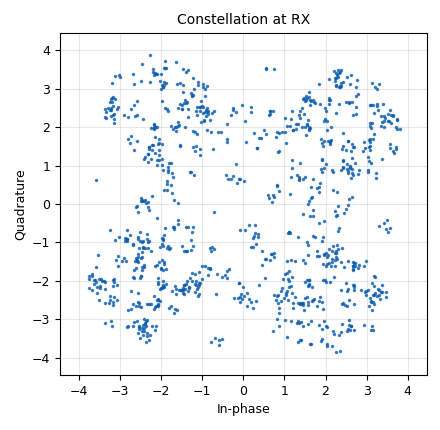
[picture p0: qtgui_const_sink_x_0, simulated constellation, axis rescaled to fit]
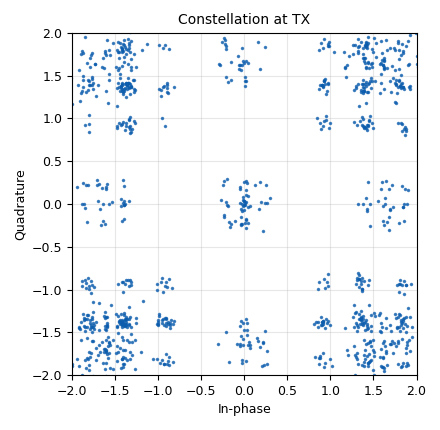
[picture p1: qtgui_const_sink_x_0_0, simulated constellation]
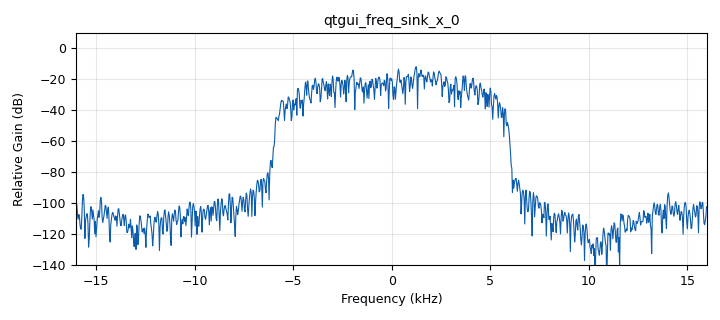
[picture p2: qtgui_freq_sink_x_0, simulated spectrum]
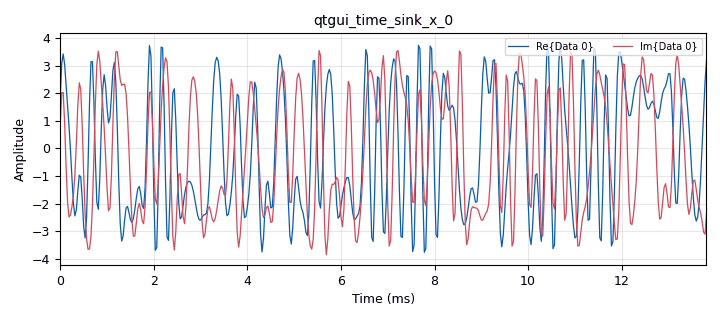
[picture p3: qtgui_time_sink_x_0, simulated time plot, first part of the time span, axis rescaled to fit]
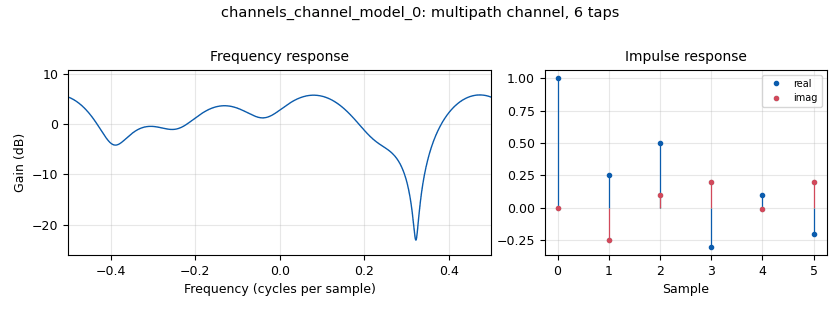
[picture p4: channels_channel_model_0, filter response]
options:
  parameters:
    generate_options: qt_gui
    id: wireless_channel
    output_language: python
    title: Not titled yet
  states: {}

blocks:
- name: freq_offset
  id: variable_qtgui_range
  parameters:
    label: Frequency Offset
    start: '0'
    step: '0.1'
    stop: '10'
    value: '0'
  states: {}
- name: noise
  id: variable_qtgui_range
  parameters:
    label: Channel Noise
    start: '0'
    step: '0.01'
    stop: '10'
    value: '0'
  states: {}
- name: samp_rate
  id: variable
  parameters:
    value: '32000'
  states: {}
- name: taps
  id: variable
  parameters:
    value: '[1.0, 0.25-0.25j, 0.5+0.1j, -0.3+0.2j, 0.1-0.01j, -0.2+0.2j]'
  states: {}
- name: time_offset
  id: variable_qtgui_range
  parameters:
    label: Time Offset
    start: '0'
    step: '0.01'
    stop: '1'
    value: '1'
  states: {}
- name: variable_constellation_0
  id: variable_constellation
  parameters:
    precision: '8'
    type: qpsk
  states: {}
- name: analog_random_source_x_0
  id: analog_random_source_x
  parameters:
    max: '256'
    min: '0'
    num_samps: '1000'
    repeat: 'True'
    type: byte
  states: {}
- name: blocks_throttle2_0
  id: blocks_throttle2
  parameters:
    samples_per_second: samp_rate
    type: complex
  states: {}
- name: channels_channel_model_0
  id: channels_channel_model
  parameters:
    epsilon: time_offset
    freq_offset: freq_offset
    noise_voltage: noise
    seed: '0'
    taps: taps
  states: {}
- name: digital_constellation_modulator_0
  id: digital_constellation_modulator
  parameters:
    constellation: variable_constellation_0
    differential: 'False'
    excess_bw: '0.5'
    samples_per_symbol: '4'
  states: {}
- name: qtgui_const_sink_x_0
  id: qtgui_const_sink_x
  parameters:
    name: '"Constellation at RX"'
    size: '1024'
    type: complex
  states: {}
- name: qtgui_const_sink_x_0_0
  id: qtgui_const_sink_x
  parameters:
    name: '"Constellation at TX"'
    size: '1024'
    type: complex
  states: {}
- name: qtgui_freq_sink_x_0
  id: qtgui_freq_sink_x
  parameters:
    bw: samp_rate
    fc: '0'
    fftsize: '1024'
    type: complex
  states: {}
- name: qtgui_time_sink_x_0
  id: qtgui_time_sink_x
  parameters:
    size: '1024'
    srate: samp_rate
    type: complex
  states: {}

connections:
- [analog_random_source_x_0, '0', digital_constellation_modulator_0, '0']
- [blocks_throttle2_0, '0', channels_channel_model_0, '0']
- [blocks_throttle2_0, '0', qtgui_const_sink_x_0_0, '0']
- [channels_channel_model_0, '0', qtgui_const_sink_x_0, '0']
- [channels_channel_model_0, '0', qtgui_freq_sink_x_0, '0']
- [channels_channel_model_0, '0', qtgui_time_sink_x_0, '0']
- [digital_constellation_modulator_0, '0', blocks_throttle2_0, '0']

metadata:
  file_format: 1
  grc_version: 3.10.7.0
